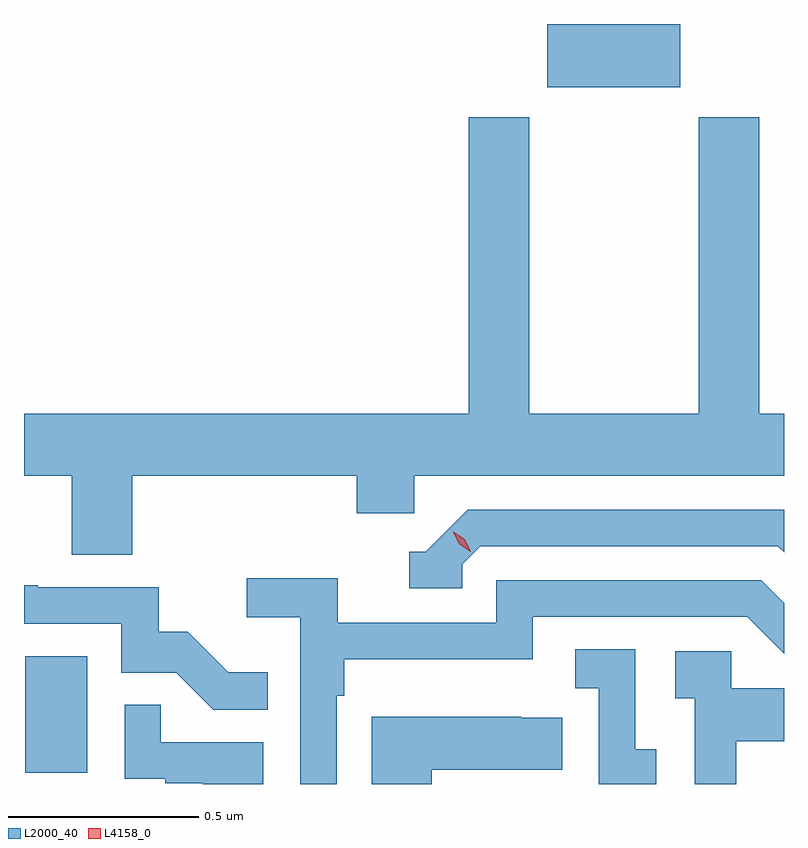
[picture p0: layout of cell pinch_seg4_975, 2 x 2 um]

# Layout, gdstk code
import gdstk
lib = gdstk.Library(unit=1e-6, precision=1e-09)
def R(c, l, rs):  # rectangles x0, y0, x1, y1
    for r in rs: c.add(gdstk.rectangle(r[:2], r[2:], *l))
def P(c, l, *ps):  # polygons
    for p in ps: c.add(gdstk.Polygon(p, *l))
L2000_40 = (2000, 40)
L4158_0 = (4158, 0)

pinch_seg4_975 = lib.new_cell('pinch_seg4_975')
R(pinch_seg4_975, L2000_40, [(857.516,769.398,857.68,769.705), (858.89,771.203,859.24,771.369)])
P(pinch_seg4_975, L2000_40, [(857.798,770.18),(858.389,770.18),(858.389,770.082),(858.54,770.082),(858.54,770.18),(859.513,770.18),(859.513,770.344),(859.448,770.344),(859.448,771.124),(859.288,771.124),(859.288,770.344),(858.843,770.344),(858.843,771.124),(858.683,771.124),(858.683,770.344),(857.513,770.344),(857.513,770.18),(857.638,770.18),(857.638,769.972),(857.798,769.972)],
  [(858.666,769.947),(858.714,769.995),(859.497,769.995),(859.513,769.979),(859.513,770.091),(858.681,770.091),(858.57,769.98),(858.527,769.98),(858.527,769.884),(858.666,769.884)],
  [(858.336,769.601),(858.356,769.601),(858.356,769.697),(858.852,769.697),(858.852,769.809),(859.416,769.809),(859.513,769.712),(859.513,769.845),(859.453,769.905),(858.756,769.905),(858.756,769.794),(858.338,769.794),(858.338,769.91),(858.099,769.91),(858.099,769.808),(858.24,769.808),(858.24,769.369),(858.336,769.369)],
  [(858.155,769.663),(858.051,769.663),(857.944,769.77),(857.868,769.77),(857.868,769.887),(857.549,769.887),(857.549,769.892),(857.513,769.892),(857.513,769.791),(857.769,769.791),(857.769,769.662),(857.913,769.662),(858.011,769.564),(858.155,769.564)],
  [(859.177,769.461),(859.122,769.461),(859.122,769.724),(858.963,769.724),(858.963,769.621),(859.026,769.621),(859.026,769.369),(859.177,769.369)],
  [(859.387,769.481),(859.513,769.481),(859.513,769.621),(859.374,769.621),(859.374,769.719),(859.227,769.719),(859.227,769.595),(859.278,769.595),(859.278,769.369),(859.387,769.369)],
  [(858.142,769.479),(857.873,769.479),(857.873,769.577),(857.778,769.577),(857.778,769.383),(857.885,769.383),(857.885,769.371),(857.984,769.371),(857.984,769.369),(858.142,769.369)],
  [(858.586,769.406),(858.929,769.406),(858.929,769.543),(858.821,769.543),(858.821,769.546),(858.428,769.546),(858.428,769.369),(858.586,769.369)])
P(pinch_seg4_975, L4158_0, [(858.688,769.98),(858.658,770),(858.643,770.032),(858.643,770.033),(858.643,770.033),(858.673,770.013),(858.688,769.98),(858.688,769.98)])

lib.write_gds('pinch_seg4_975.gds')
